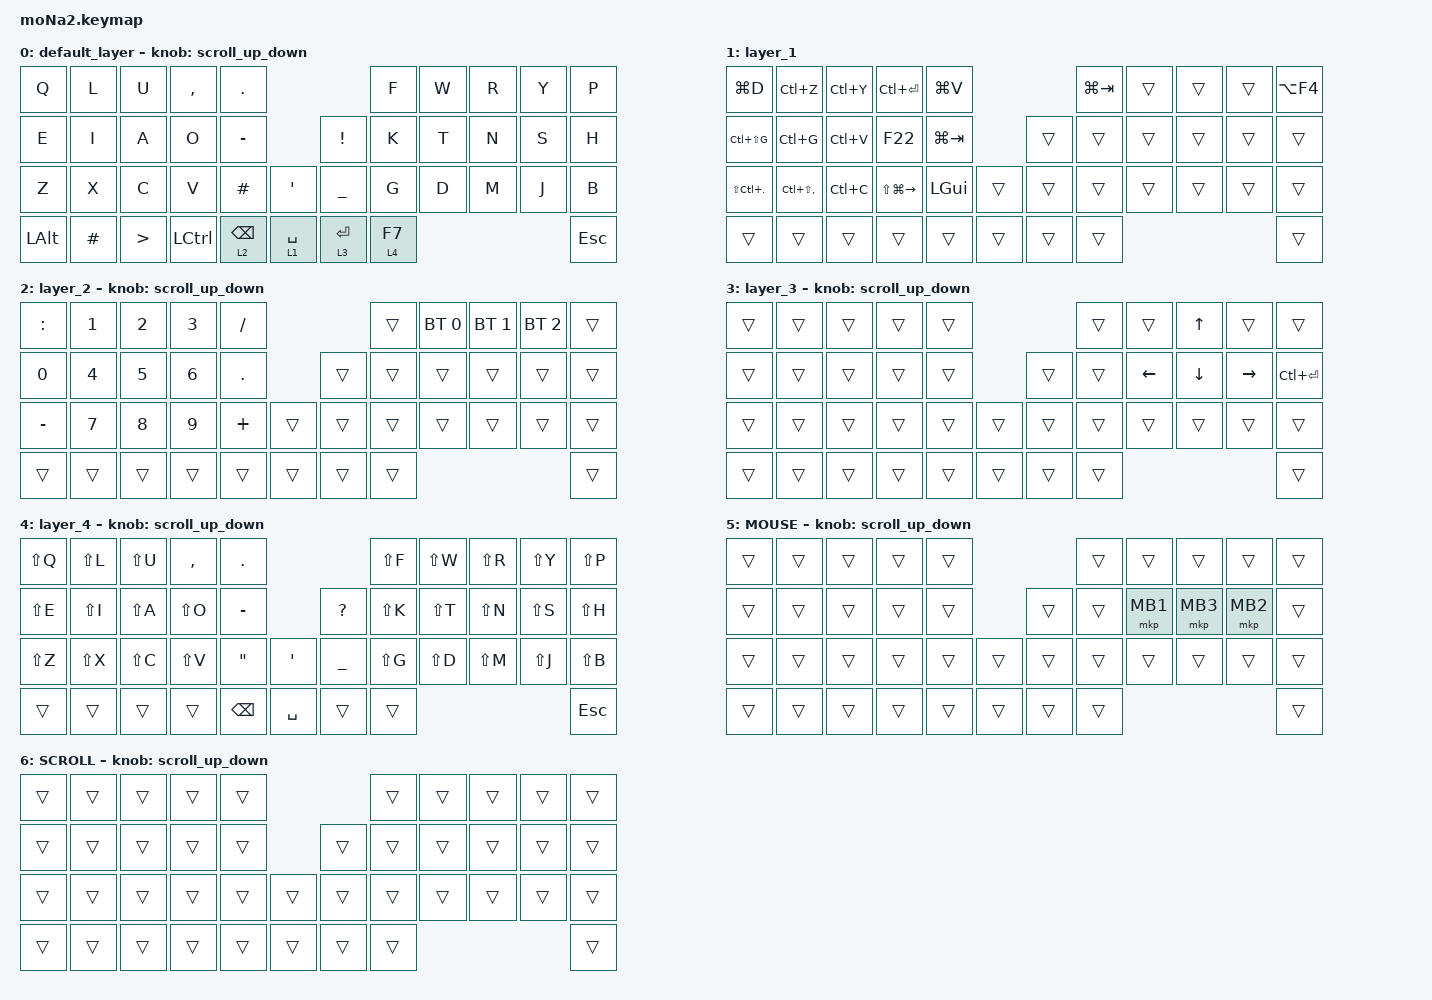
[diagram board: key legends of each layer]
#include <behaviors.dtsi>
#include <dt-bindings/zmk/bt.h>
#include <dt-bindings/zmk/keys.h>
#include <dt-bindings/zmk/pointing.h>

#define ZMK_POINTING_DEFAULT_SCRL_VAL 65  // 65 x 16ms tick = ~1 wheel unit per encoder trigger
#define MOUSE 5
#define SCROLL 6

&mt {
    flavor = "balanced";
    quick-tap-ms = <0>;
};

/ {
    combos {
        compatible = "zmk,combos";

        english {
            bindings = <&kp LANGUAGE_2>;
            key-positions = <22 23>;
            layers = <4 0>;
            timeout-ms = <35>;
            require-prior-idle-ms = <0>;
        };

        japanese {
            bindings = <&kp LANG1>;
            key-positions = <30 31>;
            timeout-ms = <35>;
            layers = <4 0>;
        };

        MouseRightClick {
            bindings = <&mkp RCLK>;
            key-positions = <18 19>;
            timeout-ms = <35>;
            layers = <0 1 2 3 4 5>;
        };

        MouseLeftClick {
            bindings = <&mkp LCLK>;
            key-positions = <17 18>;
            timeout-ms = <35>;
            layers = <0 1 2 3 4 5>;
        };

        kakkohajime {
            bindings = <&kp LEFT_PARENTHESIS>;
            key-positions = <6 7>;
            timeout-ms = <35>;
            layers = <4 0>;
        };

        kakkotoji {
            bindings = <&kp RIGHT_PARENTHESIS>;
            key-positions = <7 8>;
            timeout-ms = <35>;
            layers = <4 0>;
        };

        at {
            bindings = <&kp AT>;
            key-positions = <12 11>;
            timeout-ms = <35>;
            layers = <4 0>;
        };

        grater {
            bindings = <&kp GT>;
            key-positions = <1 2>;
            timeout-ms = <35>;
            layers = <4 0>;
        };

        dblqo {
            bindings = <&kp DOUBLE_QUOTES>;
            key-positions = <12 13>;
            timeout-ms = <35>;
            layers = <4 0>;
        };

        question {
            bindings = <&kp QUESTION>;
            key-positions = <8 9>;
            timeout-ms = <35>;
            layers = <4 0>;
        };
    };

    macros {
        to_layer_0: to_layer_0 {
            compatible = "zmk,behavior-macro-one-param";
            #binding-cells = <1>;
            bindings = <&to 0 &macro_param_1to1 &kp MACRO_PLACEHOLDER>;
            label = "TO_LAYER_0";
        };
    };

    behaviors {
        lt_bs: lt_bs {
            compatible = "zmk,behavior-hold-tap";
            label = "LT_BACKSPACE";
            #binding-cells = <2>;
            flavor = "tap-preferred";
            tapping-term-ms = <200>;
            quick-tap-ms = <200>;
            bindings = <&mo>, <&kp>;
        };

        lt_to_layer_0: lt_to_layer_0 {
            compatible = "zmk,behavior-hold-tap";
            label = "LAYER_TAP_TO_0";
            bindings = <&mo>, <&to_layer_0>;

            #binding-cells = <2>;
            tapping-term-ms = <200>;
        };

        scroll_up_down: behavior_sensor_rotate_mouse_wheel_up_down {
            compatible = "zmk,behavior-sensor-rotate";
            #sensor-binding-cells = <0>;
            bindings = <&msc SCRL_UP>, <&msc SCRL_DOWN>;

            tap-ms = <20>;  // keep short: triggers run one by one in the behavior queue
        };
    };

    keymap {
        compatible = "zmk,keymap";

        default_layer {
            bindings = <
&kp Q         &kp L     &kp U             &kp COMMA  &kp PERIOD                                            &kp F     &kp W  &kp R  &kp Y  &kp P
&kp E         &kp I     &kp A             &kp O      &kp MINUS                             &kp EXCL        &kp K     &kp T  &kp N  &kp S  &kp H
&kp Z         &kp X     &kp C             &kp V      &kp HASH            &kp APOSTROPHE    &kp UNDERSCORE  &kp G     &kp D  &kp M  &kp J  &kp B
&kp LEFT_ALT  &kp HASH  &kp GREATER_THAN  &kp LCTRL  &lt_bs 2 BACKSPACE  &lt 1 SPACE       &lt 3 ENTER     &lt 4 F7                       &kp ESCAPE
            >;

            sensor-bindings = <&scroll_up_down>;
        };

        layer_1 {
            bindings = <
&kp LG(D)        &kp LC(Z)          &kp LC(Y)  &kp LC(ENTER)            &kp LG(V)                       &kp LG(TAB)  &trans  &trans  &trans  &kp LA(F4)
&kp LC(LS(G))    &kp LC(G)          &kp LC(V)  &kp F22                  &kp LG(TAB)             &trans  &trans       &trans  &trans  &trans  &trans
&kp LS(LC(DOT))  &kp LC(LS(COMMA))  &kp LC(C)  &kp LS(LG(RIGHT_ARROW))  &kp LEFT_GUI  &trans    &trans  &trans       &trans  &trans  &trans  &trans
&trans           &trans             &trans     &trans                   &trans        &trans    &trans  &trans                               &trans
            >;
        };

        layer_2 {
            bindings = <
&kp COLON     &kp NUMBER_1  &kp NUMBER_2  &kp NUMBER_3  &kp SLASH                     &trans  &bt BT_SEL 0  &bt BT_SEL 1  &bt BT_SEL 2  &trans
&kp NUMBER_0  &kp NUMBER_4  &kp NUMBER_5  &kp NUMBER_6  &kp PERIOD            &trans  &trans  &trans        &trans        &trans        &trans
&kp MINUS     &kp NUMBER_7  &kp NUMBER_8  &kp NUMBER_9  &kp PLUS    &trans    &trans  &trans  &trans        &trans        &trans        &trans
&trans        &trans        &trans        &trans        &trans      &trans    &trans  &trans                                            &trans
            >;

            sensor-bindings = <&scroll_up_down>;
        };

        layer_3 {
            bindings = <
&trans  &trans  &trans  &trans  &trans                    &trans  &trans    &kp UP    &trans     &trans
&trans  &trans  &trans  &trans  &trans            &trans  &trans  &kp LEFT  &kp DOWN  &kp RIGHT  &kp LC(ENTER)
&trans  &trans  &trans  &trans  &trans  &trans    &trans  &trans  &trans    &trans    &trans     &trans
&trans  &trans  &trans  &trans  &trans  &trans    &trans  &trans                                 &trans
            >;

            sensor-bindings = <&scroll_up_down>;
        };

        layer_4 {
            bindings = <
&kp LS(Q)  &kp LS(L)  &kp LS(U)  &kp COMMA  &kp PERIOD                                           &kp LS(F)  &kp LS(W)  &kp LS(R)  &kp LS(Y)  &kp LS(P)
&kp LS(E)  &kp LS(I)  &kp LS(A)  &kp LS(O)  &kp MINUS                            &kp QUESTION    &kp LS(K)  &kp LS(T)  &kp LS(N)  &kp LS(S)  &kp LS(H)
&kp LS(Z)  &kp LS(X)  &kp LS(C)  &kp LS(V)  &kp DOUBLE_QUOTES  &kp APOSTROPHE    &kp UNDERSCORE  &kp LS(G)  &kp LS(D)  &kp LS(M)  &kp LS(J)  &kp LS(B)
&trans     &trans     &trans     &trans     &kp BACKSPACE      &kp SPACE         &trans          &trans                                      &kp ESCAPE
            >;

            sensor-bindings = <&scroll_up_down>;
        };

        MOUSE {
            bindings = <
&trans  &trans  &trans  &trans  &trans                    &trans  &trans    &trans    &trans    &trans
&trans  &trans  &trans  &trans  &trans            &trans  &trans  &mkp MB1  &mkp MB3  &mkp MB2  &trans
&trans  &trans  &trans  &trans  &trans  &trans    &trans  &trans  &trans    &trans    &trans    &trans
&trans  &trans  &trans  &trans  &trans  &trans    &trans  &trans                                &trans
            >;

            sensor-bindings = <&scroll_up_down>;
        };

        SCROLL {
            bindings = <
&trans  &trans  &trans  &trans  &trans                    &trans  &trans  &trans  &trans  &trans
&trans  &trans  &trans  &trans  &trans            &trans  &trans  &trans  &trans  &trans  &trans
&trans  &trans  &trans  &trans  &trans  &trans    &trans  &trans  &trans  &trans  &trans  &trans
&trans  &trans  &trans  &trans  &trans  &trans    &trans  &trans                          &trans
            >;

            sensor-bindings = <&scroll_up_down>;
        };
    };
};
